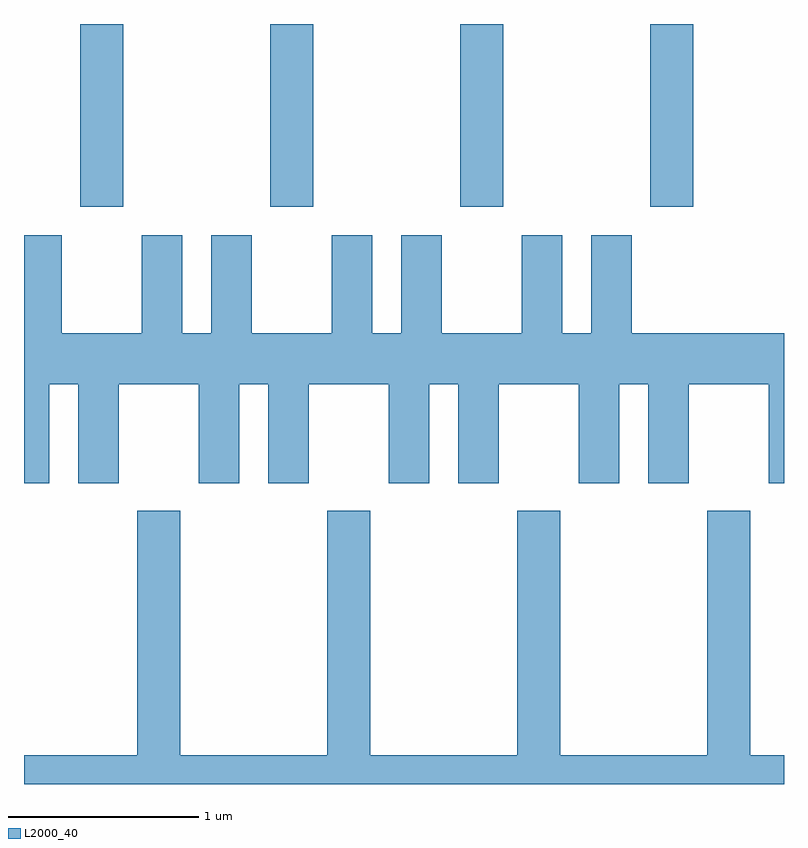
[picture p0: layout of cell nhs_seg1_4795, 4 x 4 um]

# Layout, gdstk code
import gdstk
lib = gdstk.Library(unit=1e-6, precision=1e-09)
def R(c, l, rs):  # rectangles x0, y0, x1, y1
    for r in rs: c.add(gdstk.rectangle(r[:2], r[2:], *l))
def A(c, l, x, y, w, h, nx, ny, dx, dy):  # array of equal rectangles
    R(c, l, [(x+i*dx, y+j*dy, x+i*dx+w, y+j*dy+h) for i in range(nx) for j in range(ny)])
def P(c, l, *ps):  # polygons
    for p in ps: c.add(gdstk.Polygon(p, *l))
L2000_40 = (2000, 40)

nhs_seg1_4795 = lib.new_cell('nhs_seg1_4795')
A(nhs_seg1_4795, L2000_40, 329.906, 882.751, 0.228, 0.961, 4, 1, 1, 0)
P(nhs_seg1_4795, L2000_40, [(329.744,881.816),(329.896,881.816),(329.896,881.296),(330.109,881.296),(330.109,881.816),(330.531,881.816),(330.531,881.296),(330.744,881.296),(330.744,881.816),(330.896,881.816),(330.896,881.296),(331.109,881.296),(331.109,881.816),(331.531,881.816),(331.531,881.296),(331.744,881.296),(331.744,881.816),(331.896,881.816),(331.896,881.296),(332.109,881.296),(332.109,881.816),(332.531,881.816),(332.531,881.296),(332.744,881.296),(332.744,881.816),(332.896,881.816),(332.896,881.296),(333.109,881.296),(333.109,881.816),(333.531,881.816),(333.531,881.296),(333.611,881.296),(333.611,882.084),(332.809,882.084),(332.809,882.599),(332.596,882.599),(332.596,882.084),(332.444,882.084),(332.444,882.599),(332.231,882.599),(332.231,882.084),(331.809,882.084),(331.809,882.599),(331.596,882.599),(331.596,882.084),(331.444,882.084),(331.444,882.599),(331.231,882.599),(331.231,882.084),(330.809,882.084),(330.809,882.599),(330.596,882.599),(330.596,882.084),(330.444,882.084),(330.444,882.599),(330.231,882.599),(330.231,882.084),(329.809,882.084),(329.809,882.599),(329.611,882.599),(329.611,881.296),(329.744,881.296)],
  [(333.611,879.864),(333.434,879.864),(333.434,881.149),(333.206,881.149),(333.206,879.864),(332.434,879.864),(332.434,881.149),(332.206,881.149),(332.206,879.864),(331.434,879.864),(331.434,881.149),(331.206,881.149),(331.206,879.864),(330.434,879.864),(330.434,881.149),(330.206,881.149),(330.206,879.864),(329.611,879.864),(329.611,879.712),(333.611,879.712)])

lib.write_gds('nhs_seg1_4795.gds')
